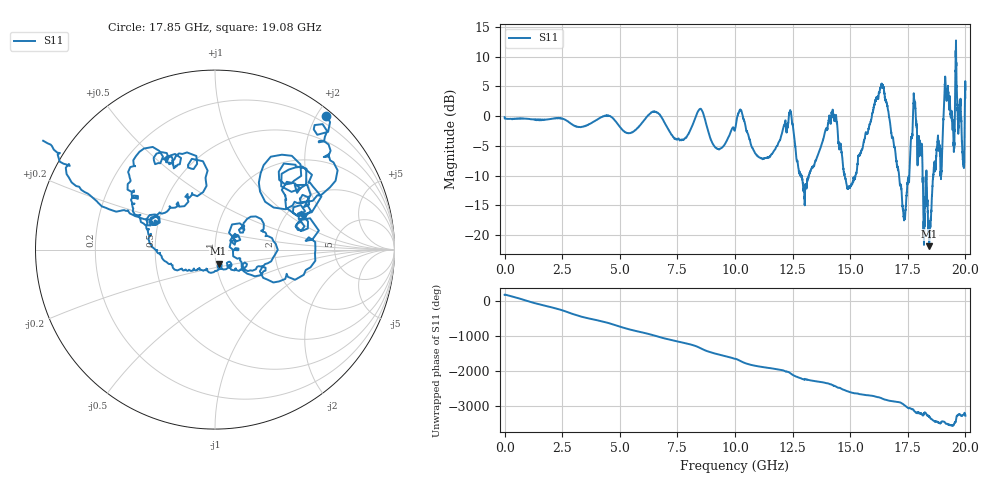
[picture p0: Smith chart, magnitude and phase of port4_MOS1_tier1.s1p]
! Created with skrf 1.8.0 (http://scikit-rf.org).
# GHz S RI R 50.0
!freq ReS11 ImS11
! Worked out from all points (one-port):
!   10001 points, 1 MHz to 20 GHz, reference 50 ohm
!   lowest |S11| = -21.8 dB at 18.43 GHz (marker M1), VSWR 1.18, Z = 51.4 - j8.11 ohm
!   |S11| at or under -10 dB: 12.88 GHz to 13.2 GHz (316.1 MHz wide, 2.42 % of centre); 14.76 GHz to 15.23 GHz (467.5 MHz wide, 3.12 % of centre); 17.12 GHz to 17.57 GHz (441.5 MHz wide, 2.55 % of centre) (the widest 3 of 8)
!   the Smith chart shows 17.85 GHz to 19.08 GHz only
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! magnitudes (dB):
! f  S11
! 1 MHz  -0.2
! 2.501 GHz  -0.4
! 5.001 GHz  -1.8
! 6.525 GHz  0.8
! 7.501 GHz  -3.9
! 8.477 GHz  1.2
! 9.231 GHz  -5.5
! 10 GHz  -2.3
! 10.26 GHz  1.0
! 11.22 GHz  -7.2
! 12.5 GHz  -1.4
! 13.03 GHz  -14.0
! 14.3 GHz  -0.3
! 14.79 GHz  -10.5
! 15 GHz  -11.8
! 16.37 GHz  5.5
! 17.32 GHz  -16.8
! 17.5 GHz  -11.0
! 17.8 GHz  1.7
! 18.17 GHz  -15.4
! 18.43 GHz  -21.8
! 18.73 GHz  -6.7
! 18.96 GHz  -9.3
! 19.17 GHz  3.2
! 19.44 GHz  -2.2
! 19.66 GHz  1.5
! 19.87 GHz  -6.1
! 20 GHz  4.5
